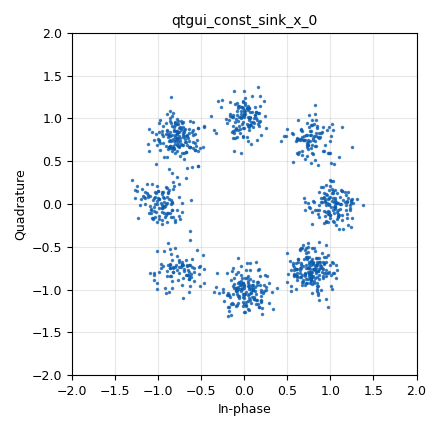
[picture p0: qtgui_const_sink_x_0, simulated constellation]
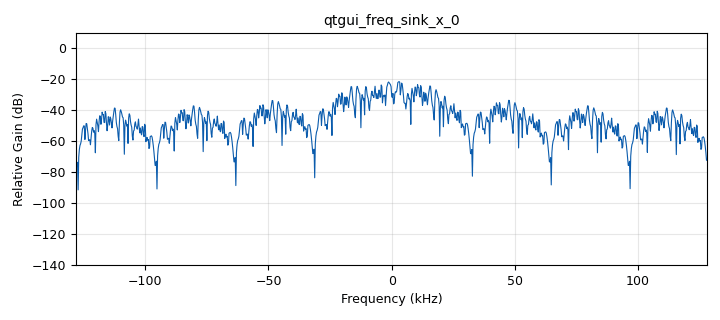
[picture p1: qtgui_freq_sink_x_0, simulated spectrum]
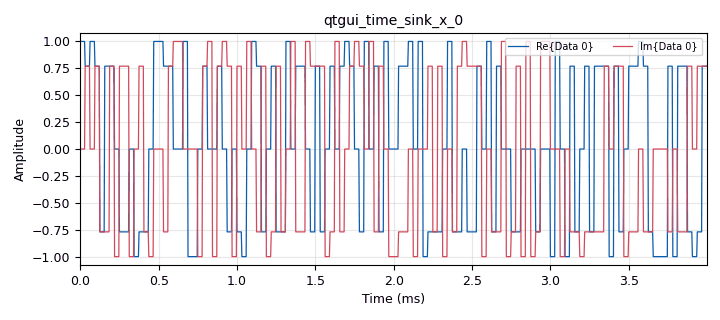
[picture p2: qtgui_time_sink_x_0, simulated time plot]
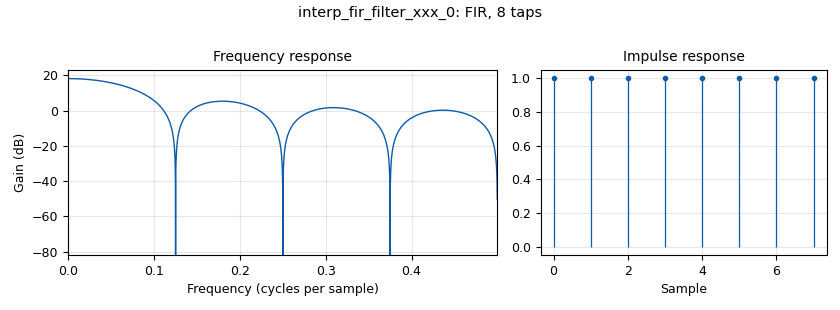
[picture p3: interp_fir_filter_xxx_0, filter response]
options:
  parameters:
    author: Usuario
    generate_options: qt_gui
    id: lab4g2
    output_language: python
    title: Not titled yet
  states: {}

blocks:
- name: M
  id: variable
  parameters:
    value: len(tablaverdad_constelacion)
  states: {}
- name: Rs
  id: variable
  parameters:
    value: '32000'
  states: {}
- name: Sps
  id: variable
  parameters:
    value: '8'
  states: {}
- name: bps
  id: variable
  parameters:
    value: int(math.log(M,2))
  states: {}
- name: h
  id: variable
  parameters:
    value: '[1]*Sps'
  states: {}
- name: samp_rate
  id: variable
  parameters:
    value: Rs*Sps
  states: {}
- name: tablaverdad_constelacion
  id: variable
  parameters:
    value: (1+0j,0.77+0.77j,0+1j,-0.77+0.77j,-1+0j,-0.77-0.77j,0-1j,0.77-0.77j,1.4142-1.4142j,1.4142+1.4142j,-1.4142+1.4142j)
  states: {}
- name: variable_0
  id: variable
  parameters:
    value: samp_rate/Sps
  states: {}
- name: analog_noise_source_x_0
  id: analog_noise_source_x
  parameters:
    amp: '0.2'
    noise_type: analog.GR_GAUSSIAN
    seed: '0'
    type: complex
  states: {}
- name: analog_random_source_x_0
  id: analog_random_source_x
  parameters:
    max: '2'
    min: '0'
    num_samps: '1000000'
    repeat: 'True'
    type: byte
  states: {}
- name: blocks_add_xx_0
  id: blocks_add_xx
  parameters:
    type: complex
  states: {}
- name: blocks_pack_k_bits_bb_0_0_0
  id: blocks_pack_k_bits_bb
  parameters:
    k: '8'
  states: {}
- name: blocks_packed_to_unpacked_xx_0_0
  id: blocks_packed_to_unpacked_xx
  parameters:
    bits_per_chunk: bps
    endianness: gr.GR_MSB_FIRST
    type: byte
  states: {}
- name: digital_chunks_to_symbols_xx_0
  id: digital_chunks_to_symbols_xx
  parameters:
    dimension: '1'
    in_type: byte
    out_type: complex
    symbol_table: tablaverdad_constelacion
  states: {}
- name: import_0
  id: import
  parameters:
    imports: import math
  states: {}
- name: interp_fir_filter_xxx_0
  id: interp_fir_filter_xxx
  parameters:
    interp: Sps
    taps: h
    type: ccf
  states: {}
- name: qtgui_const_sink_x_0
  id: qtgui_const_sink_x
  parameters:
    size: '1024'
    type: complex
  states: {}
- name: qtgui_freq_sink_x_0
  id: qtgui_freq_sink_x
  parameters:
    bw: samp_rate
    fc: '0'
    fftsize: '1024'
    type: complex
  states: {}
- name: qtgui_time_sink_x_0
  id: qtgui_time_sink_x
  parameters:
    size: '1024'
    srate: samp_rate
    type: complex
  states: {}

connections:
- [analog_noise_source_x_0, '0', blocks_add_xx_0, '1']
- [analog_random_source_x_0, '0', blocks_pack_k_bits_bb_0_0_0, '0']
- [blocks_add_xx_0, '0', qtgui_const_sink_x_0, '0']
- [blocks_pack_k_bits_bb_0_0_0, '0', blocks_packed_to_unpacked_xx_0_0, '0']
- [blocks_packed_to_unpacked_xx_0_0, '0', digital_chunks_to_symbols_xx_0, '0']
- [digital_chunks_to_symbols_xx_0, '0', interp_fir_filter_xxx_0, '0']
- [interp_fir_filter_xxx_0, '0', blocks_add_xx_0, '0']
- [interp_fir_filter_xxx_0, '0', qtgui_freq_sink_x_0, '0']
- [interp_fir_filter_xxx_0, '0', qtgui_time_sink_x_0, '0']

metadata:
  file_format: 1
  grc_version: 3.10.5.1
